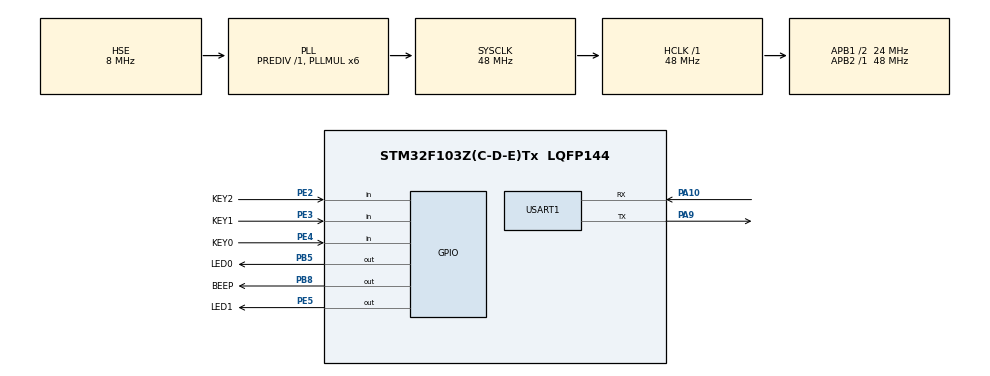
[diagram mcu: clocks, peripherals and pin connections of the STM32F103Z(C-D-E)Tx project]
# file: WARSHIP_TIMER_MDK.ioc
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Mcu.Family=STM32F1
Mcu.Name=STM32F103Z(C-D-E)Tx
Mcu.Package=LQFP144
NVIC.PriorityGroup=NVIC_PRIORITYGROUP_4
NVIC.TIM1_UP_IRQn=true\:0\:0\:false\:false\:true\:true\:true\:true
NVIC.USART1_IRQn=true\:0\:0\:false\:false\:true\:true\:true\:true
OSC_IN.Mode=HSE-External-Oscillator
OSC_IN.Signal=RCC_OSC_IN
OSC_OUT.Mode=HSE-External-Oscillator
OSC_OUT.Signal=RCC_OSC_OUT
PA0-WKUP.Mode=SYS_WakeUp0
PA0-WKUP.Signal=SYS_WKUP
PA10.Mode=Asynchronous
PA10.Signal=USART1_RX
PA13.Mode=Serial_Wire
PA13.Signal=SYS_JTMS-SWDIO
PA14.Mode=Serial_Wire
PA14.Signal=SYS_JTCK-SWCLK
PA9.Mode=Asynchronous
PA9.Signal=USART1_TX
PB12.Signal=SPI2_NSS
PB5.GPIO_Label=LED0
PB5.GPIO_ModeDefaultOutputPP=GPIO_MODE_OUTPUT_OD
PB5.GPIO_PuPd=GPIO_NOPULL
PB5.PinState=GPIO_PIN_SET
PB5.Signal=GPIO_Output
PB8.GPIO_Label=BEEP
PB8.Signal=GPIO_Output
PC14-OSC32_IN.Mode=LSE-External-Oscillator
PC14-OSC32_IN.Signal=RCC_OSC32_IN
PC15-OSC32_OUT.Mode=LSE-External-Oscillator
PC15-OSC32_OUT.Signal=RCC_OSC32_OUT
PE2.GPIO_Label=KEY2
PE2.Signal=GPIO_Input
PE3.GPIO_Label=KEY1
PE3.Signal=GPIO_Input
PE4.GPIO_Label=KEY0
PE4.Signal=GPIO_Input
PE5.GPIO_Label=LED1
PE5.GPIO_ModeDefaultOutputPP=GPIO_MODE_OUTPUT_OD
PE5.GPIO_PuPd=GPIO_NOPULL
PE5.PinState=GPIO_PIN_SET
PE5.Signal=GPIO_Output
ProjectManager.HeapSize=0x200
ProjectManager.StackSize=0x400
ProjectManager.TargetToolchain=MDK-ARM V5.32
RCC.ADCPresc=RCC_ADCPCLK2_DIV4
RCC.AHBFreq_Value=48000000
RCC.APB1CLKDivider=RCC_HCLK_DIV2
RCC.APB1Freq_Value=24000000
RCC.APB1TimFreq_Value=48000000
RCC.APB2Freq_Value=48000000
RCC.APB2TimFreq_Value=48000000
RCC.HCLKFreq_Value=48000000
RCC.PLLMUL=RCC_PLL_MUL6
RCC.PLLSourceVirtual=RCC_PLLSOURCE_HSE
RCC.SYSCLKFreq_VALUE=48000000
RCC.SYSCLKSource=RCC_SYSCLKSOURCE_PLLCLK
RCC.USBFreq_Value=48000000
TIM1.AutoReloadPreload=TIM_AUTORELOAD_PRELOAD_ENABLE
TIM1.Period=999
TIM1.Prescaler=7
USART1.VirtualMode=VM_ASYNC
VP_RTC_VS_RTC_Activate.Mode=RTC_Enabled
VP_TIM1_VS_ClockSourceINT.Mode=Internal
board=custom

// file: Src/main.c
/* USER CODE BEGIN Header */
/**
  ******************************************************************************
  * @file           : main.c
  * @brief          : Main program body
  ******************************************************************************
  * @attention
  *
  * Copyright (c) 2026 STMicroelectronics.
  * All rights reserved.
  *
  * This software is licensed under terms that can be found in the LICENSE file
  * in the root directory of this software component.
  * If no LICENSE file comes with this software, it is provided AS-IS.
  *
  ******************************************************************************
  */
/* USER CODE END Header */
#include "main.h"
#include "rtc.h"
#include "tim.h"
#include "usart.h"
#include "gpio.h"

/* USER CODE BEGIN PV */
static volatile uint32_t currentMiliSeconds = 0;
/* USER CODE END PV */

void SystemClock_Config(void);
/* USER CODE BEGIN PFP */
static void MyDelay(uint32_t Delay);
static uint32_t MyGetTick(void);
/* USER CODE END PFP */

/* USER CODE BEGIN 0 */
static void MyDelay(uint32_t Delay)
{
  uint32_t expireTime = MyGetTick() + Delay;
  while (MyGetTick() < expireTime);
}

static uint32_t MyGetTick(void)
{
  return currentMiliSeconds;
}

void HAL_TIM_PeriodElapsedCallback(TIM_HandleTypeDef *htim)
{
  if (htim == &htim1)
  {
    currentMiliSeconds++;
  }
}

/* USER CODE END 0 */

int main(void)
{

  /* MCU Configuration--------------------------------------------------------*/

  /* Reset of all peripherals, Initializes the Flash interface and the Systick. */
  HAL_Init();

  /* Configure the system clock */
  SystemClock_Config();

  /* Initialize all configured peripherals */
  MX_GPIO_Init();
  MX_RTC_Init();
  MX_USART1_UART_Init();
  MX_TIM1_Init();

  /* Infinite loop */
  /* USER CODE BEGIN WHILE */
  HAL_TIM_Base_Start_IT(&htim1);

  while (1)
  {
    HAL_GPIO_WritePin(LED0_GPIO_Port, LED0_Pin, GPIO_PIN_RESET);
    MyDelay(100);
    HAL_GPIO_WritePin(LED0_GPIO_Port, LED0_Pin, GPIO_PIN_SET);
    MyDelay(100);

    /* USER CODE END WHILE */

  }
}

void SystemClock_Config(void)
{
  RCC_OscInitTypeDef RCC_OscInitStruct = {0};
  RCC_ClkInitTypeDef RCC_ClkInitStruct = {0};
  RCC_PeriphCLKInitTypeDef PeriphClkInit = {0};

  /** Initializes the RCC Oscillators according to the specified parameters
  * in the RCC_OscInitTypeDef structure.
  */
  RCC_OscInitStruct.OscillatorType = RCC_OSCILLATORTYPE_LSI|RCC_OSCILLATORTYPE_HSE;
  RCC_OscInitStruct.HSEState = RCC_HSE_ON;
  RCC_OscInitStruct.HSEPredivValue = RCC_HSE_PREDIV_DIV1;
  RCC_OscInitStruct.HSIState = RCC_HSI_ON;
  RCC_OscInitStruct.LSIState = RCC_LSI_ON;
  RCC_OscInitStruct.PLL.PLLState = RCC_PLL_ON;
  RCC_OscInitStruct.PLL.PLLSource = RCC_PLLSOURCE_HSE;
  RCC_OscInitStruct.PLL.PLLMUL = RCC_PLL_MUL6;
  if (HAL_RCC_OscConfig(&RCC_OscInitStruct) != HAL_OK)
  {
    Error_Handler();
  }

  /** Initializes the CPU, AHB and APB buses clocks
  */
  RCC_ClkInitStruct.ClockType = RCC_CLOCKTYPE_HCLK|RCC_CLOCKTYPE_SYSCLK
                              |RCC_CLOCKTYPE_PCLK1|RCC_CLOCKTYPE_PCLK2;
  RCC_ClkInitStruct.SYSCLKSource = RCC_SYSCLKSOURCE_PLLCLK;
  RCC_ClkInitStruct.AHBCLKDivider = RCC_SYSCLK_DIV1;
  RCC_ClkInitStruct.APB1CLKDivider = RCC_HCLK_DIV2;
  RCC_ClkInitStruct.APB2CLKDivider = RCC_HCLK_DIV1;

  if (HAL_RCC_ClockConfig(&RCC_ClkInitStruct, FLASH_LATENCY_1) != HAL_OK)
  {
    Error_Handler();
  }
  PeriphClkInit.PeriphClockSelection = RCC_PERIPHCLK_RTC;
  PeriphClkInit.RTCClockSelection = RCC_RTCCLKSOURCE_LSI;
  if (HAL_RCCEx_PeriphCLKConfig(&PeriphClkInit) != HAL_OK)
  {
    Error_Handler();
  }
}

void Error_Handler(void)
{
  __disable_irq();
  while (1)
  {
  }
}
